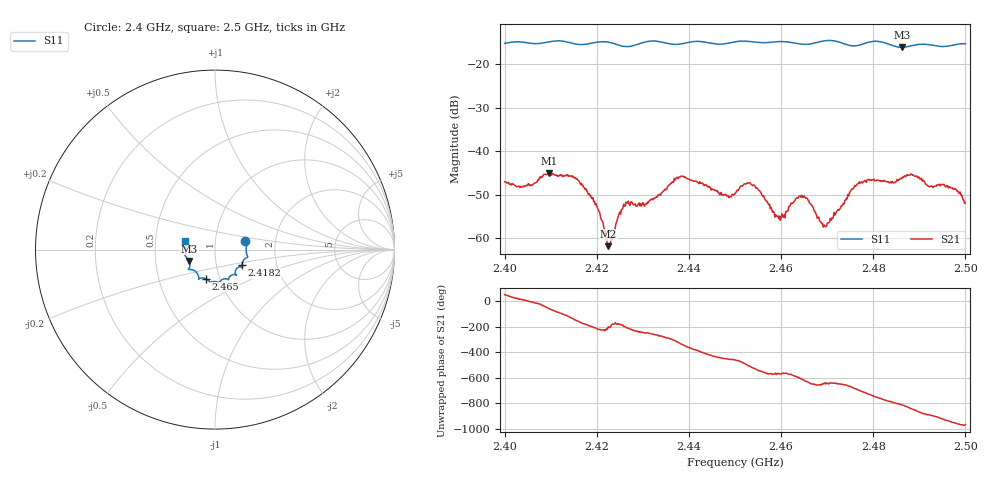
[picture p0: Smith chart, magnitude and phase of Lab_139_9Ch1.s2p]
# Hz S RI R 50
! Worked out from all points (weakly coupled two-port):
!   601 points, 2.4 GHz to 2.5 GHz, reference 50 ohm
!   highest |S21| = -45.10 dB at 2.4097 GHz (marker M1); lowest = -61.9 dB at 2.4225 GHz (marker M2)
!   lowest |S11| = -16.1 dB at 2.4862 GHz (marker M3), VSWR 1.37, Z = 37.2 - j4.83 ohm
!   |S11| at or under -10 dB: start of sweep to end of sweep
!   S12 and S22 are empty: the file has one direction only
!   S11 on the Smith chart (normalised r, x): 2.4 GHz: 1.40, +0.14; 2.4182 GHz: 1.33, -0.23; 2.465 GHz: 0.86, -0.28; 2.5 GHz: 0.71, +0.07
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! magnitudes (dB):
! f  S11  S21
! 2.4 GHz  -15.1  -47.0
! 2.4038 GHz  -14.9  -48.1
! 2.4097 GHz  -14.8  -45.1
! 2.4167 GHz  -15.4  -47.4
! 2.4182 GHz  -15.3  -49.9
! 2.4203 GHz  -14.9  -53.5
! 2.4225 GHz  -14.9  -61.9
! 2.4263 GHz  -15.9  -51.7
! 2.4333 GHz  -14.7  -50.0
! 2.4383 GHz  -15.3  -45.7
! 2.4472 GHz  -15.3  -50.1
! 2.45 GHz  -14.8  -49.7
! 2.4537 GHz  -14.8  -47.7
! 2.4595 GHz  -14.8  -55.5
! 2.465 GHz  -15.4  -50.3
! 2.4667 GHz  -15.2  -52.4
! 2.4697 GHz  -14.5  -57.4
! 2.4765 GHz  -15.7  -47.6
! 2.4833 GHz  -15.3  -47.1
! 2.4862 GHz  -16.1  -46.4
! 2.4965 GHz  -15.7  -48.2
! 2.5 GHz  -15.2  -51.8
